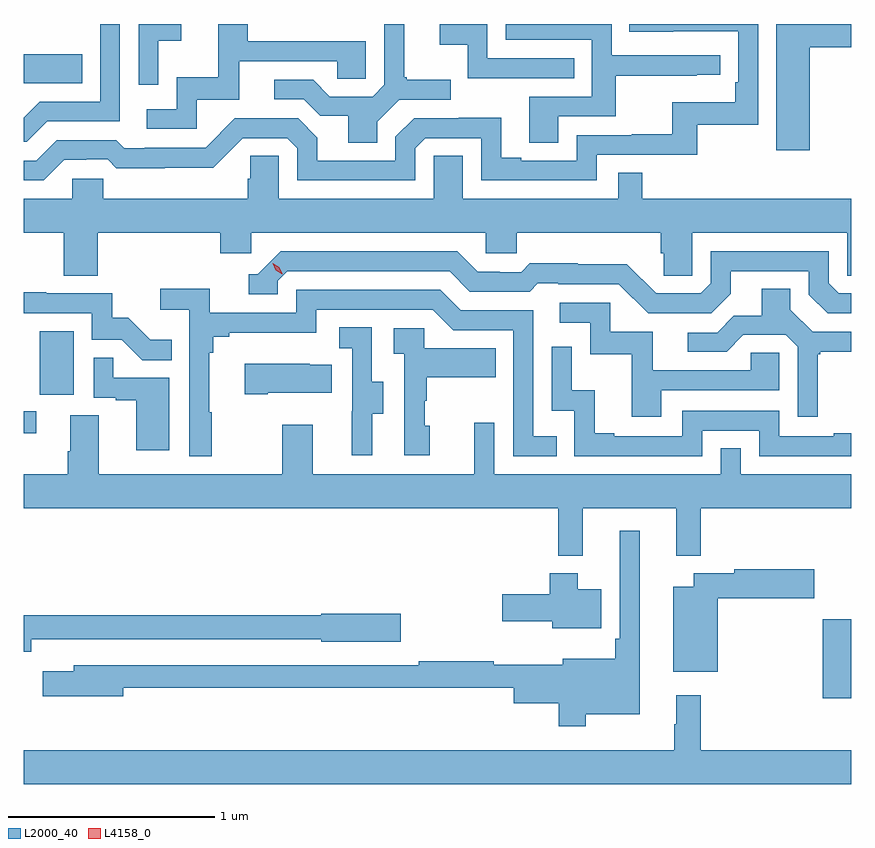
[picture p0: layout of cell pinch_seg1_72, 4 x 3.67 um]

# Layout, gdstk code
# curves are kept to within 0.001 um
import gdstk
lib = gdstk.Library(unit=1e-6, precision=1e-09)
def R(c, l, rs):  # rectangles x0, y0, x1, y1
    for r in rs: c.add(gdstk.rectangle(r[:2], r[2:], *l))
def P(c, l, *ps):  # polygons
    for p in ps: c.add(gdstk.Polygon(p, *l))
L2000_40 = (2000, 40)
L4158_0 = (4158, 0)

pinch_seg1_72 = lib.new_cell('pinch_seg1_72')
R(pinch_seg1_72, L2000_40, [(1049.78,573.459,1049.917,573.84), (1045.917,574.74,1045.978,574.845), (1045.994,574.926,1046.158,575.233), (1045.917,576.431,1046.201,576.571)])
P(pinch_seg1_72, L2000_40, [(1048.501,576.27),(1048.778,576.27),(1048.778,576.466),(1049.171,576.466),(1049.171,576.471),(1049.284,576.471),(1049.284,576.567),(1048.758,576.567),(1048.758,576.717),(1048.246,576.717),(1048.246,576.642),(1048.662,576.642),(1048.662,576.366),(1048.361,576.366),(1048.361,576.142),(1048.501,576.142)],
  [(1046.754,576.351),(1046.959,576.351),(1046.959,576.537),(1047.433,576.537),(1047.433,576.453),(1047.57,576.453),(1047.57,576.633),(1047.001,576.633),(1047.001,576.717),(1046.857,576.717),(1046.857,576.46),(1046.658,576.46),(1046.658,576.306),(1046.511,576.306),(1046.511,576.21),(1046.754,576.21)],
  [(1046.032,576.246),(1046.382,576.246),(1046.382,576.717),(1046.286,576.717),(1046.286,576.342),(1045.995,576.342),(1045.917,576.264),(1045.917,576.147),(1045.933,576.147)],
  [(1049.716,576.605),(1049.917,576.605),(1049.917,576.717),(1049.555,576.717),(1049.555,576.108),(1049.716,576.108)],
  [(1047.625,576.244),(1047.732,576.351),(1047.982,576.351),(1047.982,576.448),(1047.769,576.448),(1047.769,576.46),(1047.757,576.46),(1047.757,576.717),(1047.66,576.717),(1047.66,576.423),(1047.603,576.366),(1047.397,576.366),(1047.316,576.447),(1047.129,576.447),(1047.129,576.354),(1047.27,576.354),(1047.35,576.274),(1047.485,576.274),(1047.485,576.142),(1047.625,576.142)],
  [(1046.568,576.635),(1046.678,576.635),(1046.678,576.717),(1046.472,576.717),(1046.472,576.423),(1046.568,576.423)],
  [(1048.577,576.552),(1048.158,576.552),(1048.158,576.715),(1048.026,576.715),(1048.026,576.717),(1047.929,576.717),(1047.929,576.617),(1048.062,576.617),(1048.062,576.456),(1048.577,576.456)],
  [(1046.113,576.06),(1046.22,576.06),(1046.22,576.063),(1046.323,576.063),(1046.365,576.021),(1046.598,576.021),(1046.598,576.023),(1046.834,576.023),(1046.976,576.165),(1047.192,576.165),(1047.24,576.117),(1047.24,575.961),(1047.81,575.961),(1047.81,576.117),(1047.858,576.165),(1048.128,576.165),(1048.128,575.961),(1048.686,575.961),(1048.686,576.084),(1049.173,576.084),(1049.173,576.231),(1049.466,576.231),(1049.466,576.717),(1048.843,576.717),(1048.843,576.68),(1049.37,576.681),(1049.37,576.436),(1049.357,576.436),(1049.357,576.34),(1049.052,576.34),(1049.052,576.185),(1048.855,576.185),(1048.855,576.18),(1048.59,576.18),(1048.59,576.057),(1048.321,576.057),(1048.321,576.07),(1048.225,576.07),(1048.225,576.263),(1048.02,576.263),(1048.02,576.261),(1047.804,576.261),(1047.714,576.171),(1047.714,576.057),(1047.337,576.057),(1047.337,576.167),(1047.243,576.261),(1046.937,576.261),(1046.796,576.12),(1046.503,576.12),(1046.503,576.117),(1046.404,576.117),(1046.365,576.156),(1046.076,576.156),(1045.977,576.057),(1045.917,576.057),(1045.917,575.961),(1046.014,575.961)],
  [(1048.907,575.999),(1048.791,575.999),(1048.791,575.872),(1048.039,575.872),(1048.039,576.08),(1047.9,576.08),(1047.9,575.872),(1047.15,575.872),(1047.15,576.08),(1047.013,576.08),(1047.013,575.97),(1046.999,575.97),(1046.999,575.872),(1046.301,575.872),(1046.301,575.97),(1046.151,575.97),(1046.151,575.872),(1045.917,575.872),(1045.917,575.708),(1046.111,575.708),(1046.111,575.5),(1046.276,575.5),(1046.276,575.708),(1046.867,575.708),(1046.867,575.61),(1047.018,575.61),(1047.018,575.708),(1048.149,575.708),(1048.149,575.61),(1048.299,575.61),(1048.299,575.708),(1048.997,575.708),(1048.997,575.61),(1049.011,575.61),(1049.011,575.5),(1049.148,575.5),(1049.148,575.708),(1049.898,575.708),(1049.898,575.5),(1049.917,575.5),(1049.917,575.872),(1048.907,575.872)],
  [(1049.335,575.413),(1049.335,575.523),(1049.712,575.523),(1049.712,575.409),(1049.802,575.319),(1049.917,575.319),(1049.917,575.415),(1049.856,575.415),(1049.808,575.463),(1049.808,575.619),(1049.238,575.619),(1049.238,575.463),(1049.19,575.415),(1048.974,575.415),(1048.832,575.557),(1048.596,575.557),(1048.596,575.56),(1048.363,575.56),(1048.321,575.517),(1048.218,575.517),(1048.218,575.52),(1048.111,575.52),(1048.012,575.619),(1047.159,575.619),(1047.048,575.508),(1047.005,575.508),(1047.005,575.412),(1047.144,575.412),(1047.144,575.475),(1047.192,575.523),(1047.975,575.523),(1048.074,575.424),(1048.363,575.424),(1048.402,575.463),(1048.501,575.463),(1048.501,575.46),(1048.794,575.46),(1048.935,575.319),(1049.241,575.319)],
  [(1049.755,575.121),(1049.767,575.121),(1049.767,575.132),(1049.917,575.132),(1049.917,575.229),(1049.73,575.229),(1049.623,575.336),(1049.623,575.438),(1049.483,575.438),(1049.483,575.306),(1049.348,575.306),(1049.268,575.226),(1049.127,575.226),(1049.127,575.133),(1049.314,575.133),(1049.395,575.214),(1049.601,575.214),(1049.658,575.157),(1049.658,574.818),(1049.755,574.818)],
  [(1046.827,574.841),(1046.815,574.841),(1046.815,575.129),(1046.834,575.129),(1046.834,575.206),(1046.911,575.206),(1046.911,575.225),(1047.33,575.225),(1047.33,575.337),(1047.894,575.337),(1047.993,575.238),(1048.284,575.238),(1048.284,574.629),(1048.493,574.629),(1048.493,574.725),(1048.38,574.725),(1048.38,575.334),(1048.03,575.334),(1047.931,575.433),(1047.234,575.433),(1047.234,575.322),(1046.816,575.322),(1046.816,575.438),(1046.577,575.438),(1046.577,575.336),(1046.718,575.336),(1046.718,574.629),(1046.827,574.629)],
  [(1046.633,575.191),(1046.529,575.191),(1046.422,575.298),(1046.346,575.298),(1046.346,575.415),(1046.027,575.415),(1046.027,575.42),(1045.917,575.42),(1045.917,575.319),(1046.247,575.319),(1046.247,575.19),(1046.391,575.19),(1046.489,575.092),(1046.633,575.092)],
  [(1048.999,574.947),(1049.568,574.947),(1049.568,575.127),(1049.431,575.127),(1049.431,575.043),(1048.957,575.043),(1048.957,575.229),(1048.752,575.229),(1048.752,575.37),(1048.509,575.37),(1048.509,575.274),(1048.656,575.274),(1048.656,575.121),(1048.855,575.121),(1048.855,574.818),(1048.999,574.818)],
  [(1047.601,574.834),(1047.655,574.834),(1047.655,574.989),(1047.6,574.989),(1047.6,575.252),(1047.441,575.252),(1047.441,575.149),(1047.504,575.149),(1047.504,574.845),(1047.503,574.845),(1047.503,574.632),(1047.601,574.632)],
  [(1047.88,574.776),(1047.855,574.776),(1047.855,574.895),(1047.865,574.895),(1047.865,575.009),(1048.199,575.009),(1048.199,575.149),(1047.852,575.149),(1047.852,575.247),(1047.705,575.247),(1047.705,575.123),(1047.756,575.123),(1047.756,574.632),(1047.88,574.632)],
  [(1049.196,574.752),(1049.472,574.752),(1049.472,574.629),(1049.917,574.629),(1049.917,574.738),(1049.831,574.738),(1049.831,574.725),(1049.568,574.725),(1049.568,574.848),(1049.1,574.848),(1049.1,574.725),(1048.771,574.725),(1048.771,574.738),(1048.676,574.738),(1048.676,574.946),(1048.566,574.946),(1048.566,575.158),(1048.47,575.158),(1048.47,574.848),(1048.578,574.848),(1048.578,574.629),(1049.196,574.629)],
  [(1046.62,575.007),(1046.351,575.007),(1046.351,575.105),(1046.256,575.105),(1046.256,574.911),(1046.363,574.911),(1046.363,574.899),(1046.462,574.899),(1046.462,574.656),(1046.62,574.656)],
  [(1047.097,574.934),(1047.407,574.934),(1047.407,575.071),(1047.299,575.071),(1047.299,575.074),(1046.985,575.074),(1046.985,574.927),(1047.097,574.927)],
  [(1048.501,574.148),(1048.619,574.148),(1048.619,574.376),(1049.072,574.376),(1049.072,574.148),(1049.189,574.148),(1049.189,574.376),(1049.917,574.376),(1049.917,574.54),(1049.382,574.54),(1049.382,574.667),(1049.286,574.667),(1049.286,574.54),(1048.191,574.54),(1048.191,574.789),(1048.094,574.789),(1048.094,574.54),(1047.313,574.54),(1047.313,574.78),(1047.166,574.78),(1047.166,574.54),(1046.281,574.54),(1046.281,574.826),(1046.141,574.826),(1046.141,574.652),(1046.129,574.652),(1046.129,574.54),(1045.917,574.54),(1045.917,574.376),(1048.501,574.376)],
  [(1048.633,573.38),(1048.894,573.38),(1048.894,574.267),(1048.797,574.267),(1048.797,573.745),(1048.777,573.745),(1048.777,573.649),(1048.523,573.649),(1048.523,573.62),(1048.19,573.62),(1048.19,573.638),(1047.826,573.638),(1047.826,573.618),(1046.159,573.618),(1046.159,573.589),(1046.01,573.589),(1046.01,573.467),(1046.398,573.467),(1046.398,573.51),(1048.286,573.51),(1048.286,573.434),(1048.504,573.434),(1048.504,573.323),(1048.633,573.323)],
  [(1049.272,573.941),(1049.737,573.941),(1049.737,574.083),(1049.352,574.083),(1049.352,574.063),(1049.156,574.063),(1049.156,573.997),(1049.057,573.997),(1049.057,573.587),(1049.272,573.587)],
  [(1048.708,573.985),(1048.594,573.985),(1048.594,574.063),(1048.46,574.063),(1048.46,573.96),(1048.23,573.96),(1048.23,573.83),(1048.472,573.83),(1048.472,573.797),(1048.708,573.797)],
  [(1045.954,573.744),(1047.354,573.744),(1047.354,573.731),(1047.739,573.731),(1047.739,573.866),(1047.354,573.866),(1047.354,573.86),(1045.917,573.86),(1045.917,573.682),(1045.954,573.682)],
  [(1049.917,573.208),(1049.189,573.208),(1049.189,573.472),(1049.072,573.472),(1049.072,573.332),(1049.061,573.332),(1049.061,573.208),(1045.917,573.208),(1045.917,573.044),(1049.917,573.044)])
P(pinch_seg1_72, L4158_0, [(1047.167,575.508),(1047.136,575.528),(1047.12,575.56),(1047.12,575.56),(1047.12,575.56),(1047.151,575.541),(1047.167,575.509),(1047.167,575.508)])

lib.write_gds('pinch_seg1_72.gds')
